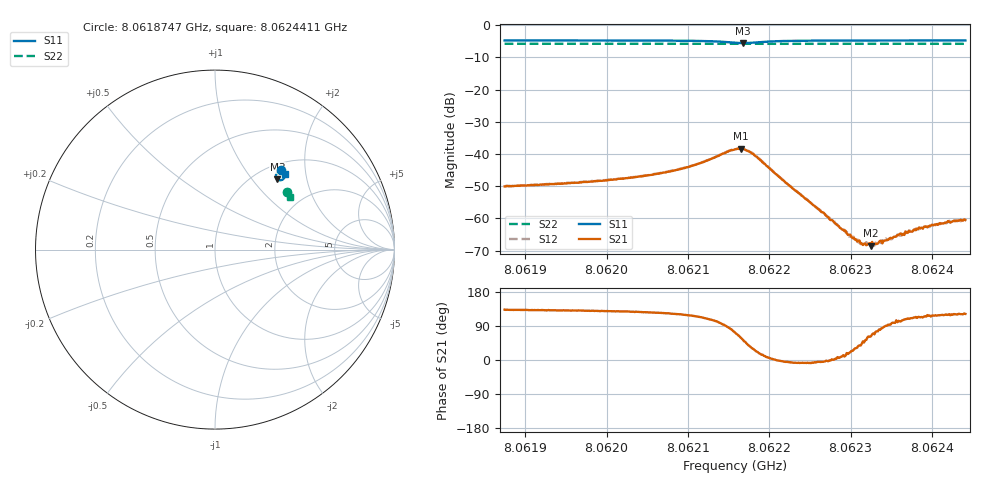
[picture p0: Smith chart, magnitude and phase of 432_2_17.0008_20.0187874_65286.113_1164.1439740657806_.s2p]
#  HZ  S  RI  R  50.00
! Rohde & Schwarz Vector Network Analyzer
! Rohde-Schwarz,ZNB20-2Port,1311601062101988,3.16
! Created: UTC 3/20/2024, 11:11:24 PM
! freq[Hz]  re:S11  im:S11  re:S21  im:S21  re:S12  im:S12  re:S22  im:S22
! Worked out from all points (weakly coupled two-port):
!   401 points, 8.0618747 GHz to 8.0624411 GHz, reference 50 ohm
!   highest |S21| = -38.37 dB at 8.062165 GHz (marker M1); lowest = -68.5 dB at 8.062325 GHz (marker M2)
!   lowest |S11| = -5.6 dB at 8.0621678 GHz (marker M3), VSWR 3.20, Z = 62.6 + j67.7 ohm
!   |S11| at or under -10 dB: nowhere
!   |S22| runs from -5.9 to -5.8 dB; largest |S21 - S12| = 0.00086
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8.06187468e9  0.369 0.4425  -0.00213 0.0023  -0.00199 0.00246  0.4001 0.319
8.06196956e9  0.3758 0.4363  -0.00236 0.00278  -0.0022 0.00296  0.4036 0.3141
8.06201912e9  0.3798 0.4321  -0.00258 0.00325  -0.0024 0.00342  0.4054 0.3117
8.06206443e9  0.384 0.4263  -0.00282 0.00409  -0.00261 0.0043  0.4071 0.3092
8.06210832e9  0.3879 0.4156  -0.00294 0.00607  -0.00257 0.00626  0.4088 0.3067
8.06215788e9  0.3644 0.3865  0.00358 0.0113  0.00424 0.0111  0.4089 0.3033
8.06216496e9  0.3522 0.3892  0.00628 0.0103  0.00689 0.0101  0.4086 0.3032
8.0621678e9  0.3479 0.3921  0.00718 0.00949  0.00773 0.00914  0.4086 0.3032
8.06218196e9  0.3394 0.4144  0.00854 0.00422  0.00884 0.00371  0.409 0.3038
8.0622216e9  0.362 0.4355  0.00347 -0.000293  0.00348 -0.000533  0.4115 0.3025
8.06225276e9  0.3719 0.4345  0.00166 -0.000198  0.00166 -0.000346  0.4132 0.3008
8.06229948e9  0.3797 0.4313  0.000526 0.000195  0.000489 0.000179  0.4149 0.2983
8.06230515e9  0.3805 0.4309  0.000406 0.000236  0.000434 0.000168  0.4149 0.2981
8.06231223e9  0.3813 0.4303  0.000324 0.000254  0.000326 0.000233  0.4153 0.2976
8.06231789e9  0.3819 0.43  0.000249 0.000322  0.000284 0.000287  0.4156 0.2973
8.06232497e9  0.3827 0.4295  0.000174 0.000336  0.00018 0.00035  0.4159 0.297
8.06233205e9  0.3833 0.4289  9.99e-05 0.000388  0.000132 0.000383  0.4162 0.2966
8.06234763e9  0.3848 0.4279  -2.57e-05 0.000486  7.52e-06 0.000479  0.4168 0.2957
8.06236887e9  0.3867 0.4267  -0.000189 0.000576  -0.000161 0.000573  0.4174 0.2946
8.06239011e9  0.3884 0.4253  -0.000309 0.000676  -0.000286 0.000664  0.4183 0.2935
8.06241843e9  0.3905 0.4236  -0.000423 0.000765  -0.000381 0.000759  0.4192 0.2921
8.06244108e9  0.392 0.4223  -0.000496 0.000803  -0.000461 0.000841  0.42 0.2908
